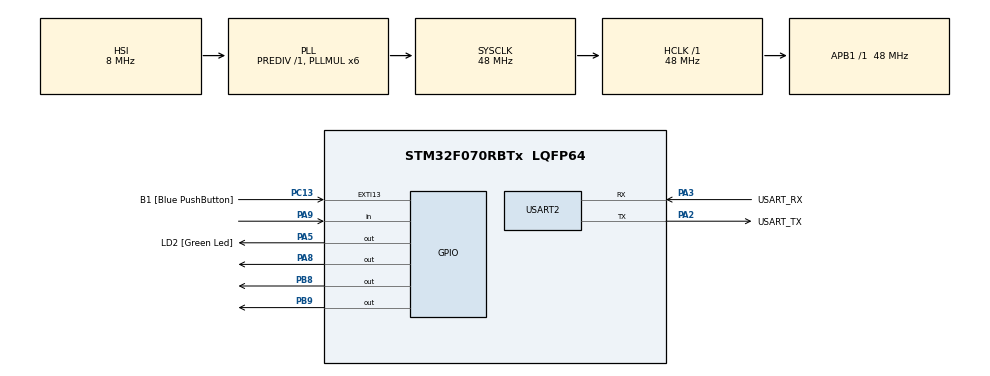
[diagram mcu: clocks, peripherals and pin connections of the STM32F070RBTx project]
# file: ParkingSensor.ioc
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Mcu.Family=STM32F0
PC15-OSC32_OUT.Mode=LSE-External-Oscillator
PC13.Signal=GPXTI13
PA14.GPIO_Label=TCK
PC13.GPIO_Label=B1 [Blue PushButton]
PC14-OSC32_IN.Signal=RCC_OSC32_IN
PC15-OSC32_OUT.GPIO_Label=RCC_OSC32_OUT
RCC.SYSCLKSource=RCC_SYSCLKSOURCE_PLLCLK
ProjectManager.StackSize=0x400
PA3.Mode=Asynchronous
PA13.Signal=SYS_SWDIO
ProjectManager.TargetToolchain=STM32CubeIDE
RCC.HCLKFreq_Value=48000000
PA9.Signal=GPIO_Input
PC15-OSC32_OUT.Signal=RCC_OSC32_OUT
RCC.AHBFreq_Value=48000000
PF0-OSC_IN.Mode=HSE-External-Clock-Source
PA5.Signal=GPIO_Output
PF0-OSC_IN.GPIO_Label=RCC_OSC_IN
board=NUCLEO-F070RB
USART2.VirtualMode-Asynchronous=VM_ASYNC
RCC.PLLMUL=RCC_PLL_MUL6
PC14-OSC32_IN.Mode=LSE-External-Oscillator
PA14.Mode=Serial_Wire
TIM3.Prescaler=48-1
PF1-OSC_OUT.GPIO_Label=RCC_OSC_OUT
PA8.Signal=GPIO_Output
PA13.Mode=Serial_Wire
Mcu.Name=STM32F070RBTx
PA2.Signal=USART2_TX
PA13.GPIO_Label=TMS
RCC.SYSCLKFreq_VALUE=48000000
Mcu.Package=LQFP64
PB9.Signal=GPIO_Output
PA5.GPIO_Label=LD2 [Green Led]
PC13.GPIO_ModeDefaultEXTI=GPIO_MODE_IT_FALLING
PA2.GPIO_Label=USART_TX
PA14.Signal=SYS_SWCLK
ProjectManager.HeapSize=0x200
RCC.APB1TimFreq_Value=48000000
PA2.Mode=Asynchronous
PB8.Signal=GPIO_Output
PC14-OSC32_IN.GPIO_Label=RCC_OSC32_IN
PF0-OSC_IN.Signal=RCC_OSC_IN
RCC.APB1Freq_Value=48000000
VP_TIM3_VS_ClockSourceINT.Mode=Internal
PF1-OSC_OUT.Signal=RCC_OSC_OUT
PA3.GPIO_Label=USART_RX
PA3.Signal=USART2_RX

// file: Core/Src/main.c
/* USER CODE BEGIN Header */
/**
  ******************************************************************************
  * @file           : main.c
  * @brief          : Main program body
  ******************************************************************************
  * @attention
  *
  * <h2><center>&copy; Copyright (c) 2021 STMicroelectronics.
  * All rights reserved.</center></h2>
  *
  * This software component is licensed by ST under BSD 3-Clause license,
  * the "License"; You may not use this file except in compliance with the
  * License. You may obtain a copy of the License at:
  *                        opensource.org/licenses/BSD-3-Clause
  *
  ******************************************************************************
  */
/* USER CODE END Header */
#include "main.h"

TIM_HandleTypeDef htim3;

UART_HandleTypeDef huart2;

void SystemClock_Config(void);
static void MX_GPIO_Init(void);
static void MX_USART2_UART_Init(void);
static void MX_TIM3_Init(void);
/* USER CODE BEGIN PFP */
void delay_us(uint32_t us);
uint32_t Read_HCSR04();
/* USER CODE END PFP */

/* USER CODE BEGIN 0 */
uint32_t time = 0;
uint32_t distance = 0;
/* USER CODE END 0 */

int main(void)
{

  /* MCU Configuration--------------------------------------------------------*/

  /* Reset of all peripherals, Initializes the Flash interface and the Systick. */
  HAL_Init();

  /* Configure the system clock */
  SystemClock_Config();

  /* Initialize all configured peripherals */
  MX_GPIO_Init();
  MX_USART2_UART_Init();
  MX_TIM3_Init();

  /* Infinite loop */
  /* USER CODE BEGIN WHILE */
  while (1)
  {
	  HAL_TIM_Base_Start(&htim3);

	  time = Read_HCSR04();
	  distance = time / 29;

	  if(distance < 10){
		  GPIOB->ODR = 0x300;
		  HAL_Delay(100);
		  GPIOB->ODR = 0;
		  HAL_Delay(100);
	  }
	  else if(distance >= 10 && distance < 20){
		  GPIOB->ODR = 0x300;
		  HAL_Delay(250);
		  GPIOB->ODR = 0;
		  HAL_Delay(250);
	  }
	  else if(distance >= 20 && distance < 30){
		  GPIOB->ODR = 0x300;
		  HAL_Delay(450);
		  GPIOB->ODR = 0;
		  HAL_Delay(450);
	  }
	  else{
		  GPIOB->ODR = 0;
	  }
    /* USER CODE END WHILE */

  }
}

void SystemClock_Config(void)
{
  RCC_OscInitTypeDef RCC_OscInitStruct = {0};
  RCC_ClkInitTypeDef RCC_ClkInitStruct = {0};

  /** Initializes the RCC Oscillators according to the specified parameters
  * in the RCC_OscInitTypeDef structure.
  */
  RCC_OscInitStruct.OscillatorType = RCC_OSCILLATORTYPE_HSI;
  RCC_OscInitStruct.HSIState = RCC_HSI_ON;
  RCC_OscInitStruct.HSICalibrationValue = RCC_HSICALIBRATION_DEFAULT;
  RCC_OscInitStruct.PLL.PLLState = RCC_PLL_ON;
  RCC_OscInitStruct.PLL.PLLSource = RCC_PLLSOURCE_HSI;
  RCC_OscInitStruct.PLL.PLLMUL = RCC_PLL_MUL6;
  RCC_OscInitStruct.PLL.PREDIV = RCC_PREDIV_DIV1;
  if (HAL_RCC_OscConfig(&RCC_OscInitStruct) != HAL_OK)
  {
    Error_Handler();
  }
  /** Initializes the CPU, AHB and APB buses clocks
  */
  RCC_ClkInitStruct.ClockType = RCC_CLOCKTYPE_HCLK|RCC_CLOCKTYPE_SYSCLK
                              |RCC_CLOCKTYPE_PCLK1;
  RCC_ClkInitStruct.SYSCLKSource = RCC_SYSCLKSOURCE_PLLCLK;
  RCC_ClkInitStruct.AHBCLKDivider = RCC_SYSCLK_DIV1;
  RCC_ClkInitStruct.APB1CLKDivider = RCC_HCLK_DIV1;

  if (HAL_RCC_ClockConfig(&RCC_ClkInitStruct, FLASH_LATENCY_1) != HAL_OK)
  {
    Error_Handler();
  }
}

static void MX_TIM3_Init(void)
{

  TIM_ClockConfigTypeDef sClockSourceConfig = {0};
  TIM_MasterConfigTypeDef sMasterConfig = {0};

  htim3.Instance = TIM3;
  htim3.Init.Prescaler = 48-1;
  htim3.Init.CounterMode = TIM_COUNTERMODE_UP;
  htim3.Init.Period = 65535;
  htim3.Init.ClockDivision = TIM_CLOCKDIVISION_DIV1;
  htim3.Init.AutoReloadPreload = TIM_AUTORELOAD_PRELOAD_DISABLE;
  if (HAL_TIM_Base_Init(&htim3) != HAL_OK)
  {
    Error_Handler();
  }
  sClockSourceConfig.ClockSource = TIM_CLOCKSOURCE_INTERNAL;
  if (HAL_TIM_ConfigClockSource(&htim3, &sClockSourceConfig) != HAL_OK)
  {
    Error_Handler();
  }
  sMasterConfig.MasterOutputTrigger = TIM_TRGO_RESET;
  sMasterConfig.MasterSlaveMode = TIM_MASTERSLAVEMODE_DISABLE;
  if (HAL_TIMEx_MasterConfigSynchronization(&htim3, &sMasterConfig) != HAL_OK)
  {
    Error_Handler();
  }

}

static void MX_USART2_UART_Init(void)
{

  huart2.Instance = USART2;
  huart2.Init.BaudRate = 38400;
  huart2.Init.WordLength = UART_WORDLENGTH_8B;
  huart2.Init.StopBits = UART_STOPBITS_1;
  huart2.Init.Parity = UART_PARITY_NONE;
  huart2.Init.Mode = UART_MODE_TX_RX;
  huart2.Init.HwFlowCtl = UART_HWCONTROL_NONE;
  huart2.Init.OverSampling = UART_OVERSAMPLING_16;
  huart2.Init.OneBitSampling = UART_ONE_BIT_SAMPLE_DISABLE;
  huart2.AdvancedInit.AdvFeatureInit = UART_ADVFEATURE_NO_INIT;
  if (HAL_UART_Init(&huart2) != HAL_OK)
  {
    Error_Handler();
  }

}

static void MX_GPIO_Init(void)
{
  GPIO_InitTypeDef GPIO_InitStruct = {0};

  /* GPIO Ports Clock Enable */
  __HAL_RCC_GPIOC_CLK_ENABLE();
  __HAL_RCC_GPIOF_CLK_ENABLE();
  __HAL_RCC_GPIOA_CLK_ENABLE();
  __HAL_RCC_GPIOB_CLK_ENABLE();

  /*Configure GPIO pin Output Level */
  HAL_GPIO_WritePin(GPIOA, LD2_Pin|GPIO_PIN_8, GPIO_PIN_RESET);

  /*Configure GPIO pin Output Level */
  HAL_GPIO_WritePin(GPIOB, GPIO_PIN_8|GPIO_PIN_9, GPIO_PIN_RESET);

  /*Configure GPIO pin : B1_Pin */
  GPIO_InitStruct.Pin = B1_Pin;
  GPIO_InitStruct.Mode = GPIO_MODE_IT_FALLING;
  GPIO_InitStruct.Pull = GPIO_NOPULL;
  HAL_GPIO_Init(B1_GPIO_Port, &GPIO_InitStruct);

  /*Configure GPIO pins : LD2_Pin PA8 */
  GPIO_InitStruct.Pin = LD2_Pin|GPIO_PIN_8;
  GPIO_InitStruct.Mode = GPIO_MODE_OUTPUT_PP;
  GPIO_InitStruct.Pull = GPIO_NOPULL;
  GPIO_InitStruct.Speed = GPIO_SPEED_FREQ_LOW;
  HAL_GPIO_Init(GPIOA, &GPIO_InitStruct);

  /*Configure GPIO pin : PA9 */
  GPIO_InitStruct.Pin = GPIO_PIN_9;
  GPIO_InitStruct.Mode = GPIO_MODE_INPUT;
  GPIO_InitStruct.Pull = GPIO_NOPULL;
  HAL_GPIO_Init(GPIOA, &GPIO_InitStruct);

  /*Configure GPIO pins : PB8 PB9 */
  GPIO_InitStruct.Pin = GPIO_PIN_8|GPIO_PIN_9;
  GPIO_InitStruct.Mode = GPIO_MODE_OUTPUT_PP;
  GPIO_InitStruct.Pull = GPIO_NOPULL;
  GPIO_InitStruct.Speed = GPIO_SPEED_FREQ_LOW;
  HAL_GPIO_Init(GPIOB, &GPIO_InitStruct);

}

/* USER CODE BEGIN 4 */
void delay_us(uint32_t us){
	__HAL_TIM_SET_COUNTER(&htim3,0);
	while(__HAL_TIM_GET_COUNTER(&htim3) < us);
}

uint32_t Read_HCSR04(){
	uint32_t temp = 0;

	GPIOA->ODR = 0x100;
	delay_us(10);
	GPIOA->ODR = 0;

	while(!(GPIOA->IDR & 0x200));

	while(GPIOA->IDR & 0x200){
		temp++;
		delay_us(1);
	}
	return temp;
}
/* USER CODE END 4 */

void Error_Handler(void)
{
  __disable_irq();
  while (1)
  {
  }
}

/************************ (C) COPYRIGHT STMicroelectronics *****END OF FILE****/
